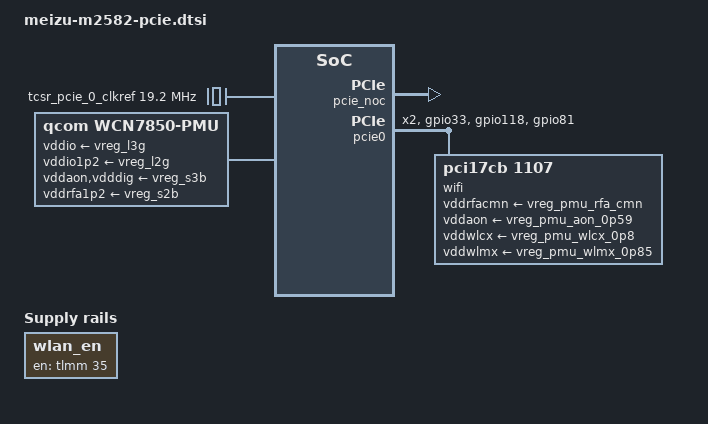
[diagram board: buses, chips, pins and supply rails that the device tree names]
// SPDX-License-Identifier: BSD-3-Clause
/*
 * M2582: PCIe0, its QMP PHY, and the WCN7750 that mainline's ath12k binds.
 *
 * The WiFi core on this phone is a PCIe endpoint, not the SNOC/icnss2 WPSS:
 * the vendor's platform node is qcom,cnss-kiwi (cnss2 = MHI over PCIe), its
 * wpss_pas sibling is status = "disabled", and the running Android enumerated
 * the chip as 0000:01:00.0 behind 1c00000.pcie.  ath12k matches PCI ID
 * 0x17cb:0x1107 directly, so no cnss2 port is needed -- only this host.
 *
 * Provenance of every number below is one of
 *
 *   live:N    artifacts/meizu22/android-live-ON/live-fdt.dts, the phone's own
 *             runtime device tree (layer 2, the strongest source here)
 *   <file>:N  an in-tree mainline driver, binding or sibling SoC description
 *   tuna:N    vendor-ref/oneplus-dt/.../tuna-pcie.dtsi -- another vendor's
 *             device tree for the *same* SoC, used only to cross-check a
 *             property's spelling, never for a value (AGENTS.md 6.1)
 *
 * Nothing is taken from vendor-ref/factory/dtb_main.dts: that DTB is for the
 * "Kera" board and has no node for this one.
 *
 * Known gaps, all of them reported rather than papered over:
 *   - the nine vdd*-supply rails qcom,ath12k.yaml wants are not declared
 *     anywhere in this tree, so wifi@0 carries none of them (see below).
 *   - the PCIe PHY's own vdda-phy/vdda-pll are in the same position: the
 *     vendor powers the PHY from its GDSC (tuna-pcie.dtsi:54) and names no
 *     rail, and phy-qcom-qmp-pcie.c takes both with a non-optional bulk get
 *     (:5101-5115, called at :5492), so they resolve to dummy regulators
 *     (regulator/core.c:130-133, 2448-2458) and Linux never enables them.
 *   - WLAN_EN is driven by the fixed regulator at the end of this file; it is
 *     the only rail this board can raise without knowing the vendor's seven.
 */

#include <dt-bindings/clock/qcom,gcc-tuna.h>
#include <dt-bindings/gpio/gpio.h>
#include <dt-bindings/interconnect/qcom,tuna.h>
#include <dt-bindings/interconnect/qcom,icc.h>
#include <dt-bindings/interrupt-controller/arm-gic.h>

/*
 * The PCIe PHY's reference.
 *
 * The real gate is TCSR_PCIE_0_CLKREF_EN in the TCSR block, which the
 * non-secure kernel must not touch -- probing that clock controller stalls the
 * AXI bus (see the tcsrcc node in tuna.dtsi) -- so it is modelled as a fixed
 * clock exactly like tcsr_usb3_clkref, and the bootloader has already opened
 * the gate.  19.2 MHz is RPMH_CXO_CLK: sm8750.dtsi gives its tcsrcc node
 * clocks = <&rpmhcc RPMH_CXO_CLK>, and RPMH_CXO_CLK is bi_tcxo here.  This sits
 * at the root, not under /soc: a reg-less child of the soc@0 simple-bus is
 * exactly the node shape that already produces the tree's nine simple_bus_reg
 * warnings, and this must not add a tenth.
 */
/ {
	tcsr_pcie_0_clkref: tcsr-pcie-0-clkref {
		compatible = "fixed-clock";
		#clock-cells = <0>;
		clock-frequency = <19200000>;
	};

	/*
	 * WLAN_EN.  The vendor names this pin twice and both times it is TLMM 35
	 * with flag 0, i.e. GPIO_ACTIVE_HIGH: wlan-en-gpio on the WiFi node
	 * (live:34711) and qcom,wl-reset-gpio on the BT node of the same chip
	 * (live:34480); its own pinctrl drives the pad output-high to enable and
	 * biases it up (live:7557-7568).  Nothing in this tree raises it -- ath12k
	 * has no gpio consumer -- so it is modelled the way mainline models such
	 * enable lines (e.g. qcs615-ride.dts:68, sm6350-sony-xperia-lena-pdx213.dts:47):
	 * a fixed regulator with no voltage of its own.  regulator-boot-on is what
	 * makes fixed.c request the GPIO already high (the initial level comes
	 * from that property alone: fixed.c:191-192, 295-296), and
	 * regulator-always-on keeps the regulator core from releasing it in late
	 * cleanup (core.c:6811).  It is
	 * deliberately not referenced by wifi@0: it is not one of the nine ath12k
	 * supplies and the driver has no consumer for it.
	 */
	wlan_en: regulator-wlan-en {
		compatible = "regulator-fixed";
		regulator-name = "wlan_en";
		gpio = <&tlmm 35 GPIO_ACTIVE_HIGH>;
		enable-active-high;
		regulator-boot-on;
		regulator-always-on;

		/* Same subsystem switch as the rest of this file. */
		m2582,feature = "wifi";
	};

	/*
	 * The WCN7750's power management unit, modelled the way every other
	 * mainline board with this part does it (sm8650-qrd.dts:1015-1065 and
	 * its siblings).  Two things hang off it:
	 *
	 *  - the seven board rails that feed the module, which is the whole
	 *    reason the pwrseq framework exists: pwrseq-qcom-wcn.c:480-486
	 *    bulk-gets all seven by name (vdd, vddio, vddio1p2, vddaon,
	 *    vdddig, vddrfa1p2, vddrfa1p8 -- note that vddio1p2 is not in the
	 *    binding's required list but the driver still asks for it, so it
	 *    has to be here or probe fails with "Failed to get all
	 *    regulators"), then enables them, asserts the BT enable line and
	 *    waits before releasing it.
	 *
	 *  - the nine "ldo" nodes below, which are the module's *internal*
	 *    PMU outputs.  They carry no compatible, so nothing binds to them
	 *    and no regulator device is ever registered: their only job is to
	 *    give wifi@0 something to point its nine mandatory vdd*-supply
	 *    properties at.
	 *
	 * The input mapping is the phone's own, from qcom,pmu_vreg_map in the
	 * vendor's WLAN node (live-fdt.dts:34675-34678), which names the
	 * internal PMU rail each board rail feeds -- VDD095_PMU <- s1g,
	 * VDD_PMU_AON_I and VDD095_MX_PMU <- s3b, VDD13_PMU_RFA_I <-> VDD13_PMU_PCIE_I
	 * <- s2b, VDD19_PMU_RFA_I <-> VDD19_PMU_PCIE_I <- s1b -- plus the two
	 * always-on IO rails on the VS instance.
	 *
	 * Deliberately no wlan-enable-gpios or bt-enable-gpios here, although
	 * the binding allows both and the driver takes them optional: TLMM 35
	 * is already owned by the wlan_en fixed regulator above (and the pwrseq
	 * driver would not drive it anyway -- it takes it GPIOD_ASIS so as not
	 * to toggle WLAN and drop the PCIe link, pwrseq-qcom-wcn.c:499-523),
	 * and PM8550VS-G gpio 4 is owned by the bluetooth node's enable-gpios.
	 * A second gpiod_get() on a claimed line returns -EBUSY
	 * (gpiolib.c:2598), which would fail this node's probe and take its
	 * sub-regulators with it.
	 *
	 * One consequence worth stating plainly, because it decides the design:
	 * on this board *nothing consumes this pwrseq*.  ath12k has no
	 * regulator or pwrseq consumer at all, and the only driver that would
	 * ask for it is hci_qca, which takes the pwrseq path only when the
	 * bluetooth node has no enable-gpios (hci_qca.c:2472-2530) -- and ours
	 * has one.  So this node does not sequence anything at runtime; it is
	 * the vendor's rail split written down, and the rails that actually
	 * power the part are always-on in meizu-m2582-regulators.dtsi.
	 */
	wcn7850-pmu {
		compatible = "qcom,wcn7850-pmu";

		vddio-supply = <&vreg_l3g>;
		vddio1p2-supply = <&vreg_l2g>;
		vddaon-supply = <&vreg_s3b>;
		vdddig-supply = <&vreg_s3b>;
		vddrfa1p2-supply = <&vreg_s2b>;
		vddrfa1p8-supply = <&vreg_s1b>;

		/* Same subsystem switch as the rest of this file.  Properties
		 * must precede subnodes, hence its place above regulators.
		 */
		m2582,feature = "wifi";

		regulators {
			vreg_pmu_rfa_cmn: ldo0 {
				regulator-name = "vreg_pmu_rfa_cmn";
			};

			vreg_pmu_aon_0p59: ldo1 {
				regulator-name = "vreg_pmu_aon_0p59";
			};

			vreg_pmu_wlcx_0p8: ldo2 {
				regulator-name = "vreg_pmu_wlcx_0p8";
			};

			vreg_pmu_wlmx_0p85: ldo3 {
				regulator-name = "vreg_pmu_wlmx_0p85";
			};

			vreg_pmu_btcmx_0p85: ldo4 {
				regulator-name = "vreg_pmu_btcmx_0p85";
			};

			vreg_pmu_rfa_0p8: ldo5 {
				regulator-name = "vreg_pmu_rfa_0p8";
			};

			vreg_pmu_rfa_1p2: ldo6 {
				regulator-name = "vreg_pmu_rfa_1p2";
			};

			vreg_pmu_rfa_1p8: ldo7 {
				regulator-name = "vreg_pmu_rfa_1p8";
			};

			vreg_pmu_pcie_0p9: ldo8 {
				regulator-name = "vreg_pmu_pcie_0p9";
			};

			vreg_pmu_pcie_1p8: ldo9 {
				regulator-name = "vreg_pmu_pcie_1p8";
			};
		};
	};
};

/*
 * MSI controller for the endpoint.
 *
 * live:1670 puts a GIC ITS at 0x17140000 (size 0x20000) inside the GIC node,
 * and live:1110 maps the host's requester IDs onto it -- MSI is the only
 * interrupt path the WiFi core has (live has no interrupts on the cnss node).
 * tuna:41 writes the same msi-map.  Mainline needs the ITS as a node of its
 * own; sm8650.dtsi:7238 is that shape, and its address is the same 0x17140000.
 * #msi-cells = <1> is the vendor's own value (live:1674).
 */
&intc {
	gic_its: msi-controller@17140000 {
		compatible = "arm,gic-v3-its";
		reg = <0 0x17140000 0 0x20000>;
		msi-controller;
		#msi-cells = <1>;

		/* The subsystem switch; see arch/arm64/kernel/meizu-m2582-features.c. */
		m2582,feature = "wifi";
	};
};

&soc {
	/*
	 * The PCIe ANOC.  It is not in tuna.dtsi, but the vendor has it and the
	 * driver for it is in this tree: live:8527 declares interconnect@16c0000
	 * with reg <0x16c0000 0x11400> and compatible "qcom,tuna-pcie_anoc",
	 * which drivers/interconnect/qcom/tuna.c:1717 binds as
	 * qcom,tuna-pcie-anoc (tuna.c:1651 is the node table: MASTER_PCIE_0 ->
	 * SLAVE_ANOC_PCIE_GEM_NOC).
	 *
	 * The two interface clocks are the vendor's (live:8531: gcc indices 6
	 * and 15 = GCC_AGGRE_NOC_PCIE_AXI_CLK and GCC_CFG_NOC_PCIE_ANOC_AHB_CLK,
	 * both implemented in gcc-tuna.c), but they are never enabled.  This
	 * node's reg sits inside the GCC window (0x100000..0x2f4200,
	 * tuna.dtsi:142), so icc-rpmh.c:314 fails the ioremap with -EBUSY and
	 * jumps silently to skip_qos_config, skipping both the QoS programming
	 * and the clk_bulk_get_all()/clk_bulk_prepare_enable() pair that would
	 * turn the clocks on (:326, :210).  The provider still registers and
	 * votes, so the consumers resolve; only QoS and the clocks are left to
	 * the bootloader, as for every other tuna NoC inside that window.
	 */
	pcie_noc: interconnect@16c0000 {
		compatible = "qcom,tuna-pcie-anoc";
		reg = <0 0x016c0000 0 0x11400>;
		#interconnect-cells = <2>;
		qcom,bcm-voters = <&apps_bcm_voter>;
		clocks = <&gcc GCC_AGGRE_NOC_PCIE_AXI_CLK>,
			 <&gcc GCC_CFG_NOC_PCIE_ANOC_AHB_CLK>;
		clock-names = "aggre_noc_pcie_axi", "cfg_noc_pcie_anoc_ahb";

		m2582,feature = "wifi";
	};

	/*
	 * The PCIe0 PHY.
	 *
	 * The vendor describes the PHY as a register window *inside* the host
	 * node -- reg-names "parf","phy","dm_core",... with "phy" at
	 * <0x1c06000 0x2000> (live:1100-1101, tuna:14-22) -- and never as a node
	 * of its own.  It is nevertheless separate silicon at a separate
	 * address, and mainline's pcie-qcom takes it through phys/phy-names
	 * (pcie-qcom.c:1955, devm_phy_optional_get(dev, "pciephy")), so the node
	 * has to exist.  It is not the USB3/DP combo PHY: that one is at
	 * 0x88e8000 (tuna-usb.dtsi, usb_qmpphy) and has nothing to do with
	 * PCIe0.
	 *
	 * Compatible: mainline has no SM8735/tuna PCIe PHY.  The choice between
	 * the two gen3x2 siblings is settled by the vendor's own init table.  The
	 * 115 (offset,value) pairs of live:1130 were matched against both
	 * in-tree tables placed at their own offset maps:
	 *
	 *   sm8550_qmp_gen3x2_pciephy_cfg (qmp_pcie_offsets_v5, used by
	 *     "qcom,sm8650-qmp-gen3x2-pcie-phy"): 105/109 driver writes identical
	 *   sm8750_qmp_gen3x2_pciephy_cfg (qmp_pcie_offsets_v7): 38/123 identical
	 *
	 * so the PHY is the sm8550/sm8650 generation.  What settles the offset
	 * map rather than just the values: the vendor writes 0x2dc = 0x05,
	 * 0x388 = 0x77, 0x6a4 = 0x1e and 0x6f4 = 0x27, which are
	 * REFGEN_REQ_CONFIG1, RX_SIGDET_LVL, EQ_CONFIG1 and RXEQEVAL_TIME at v5's
	 * pcs base 0x200 and pcs_misc base 0x600, and at no other base.  The four
	 * writes that do differ are the same register pair in both lanes (v5
	 * offsets 0x180/0x194 and their +0x800 copies): the vendor programs 0x8f
	 * where the in-tree table has 0x89.
	 *
	 * Clocks are sm8750.dtsi:5351-5360's five names, all of them resolvable
	 * here: GCC_PCIE_0_AUX_CLK, GCC_PCIE_0_CFG_AHB_CLK,
	 * GCC_PCIE_0_PHY_RCHNG_CLK and GCC_PCIE_0_PIPE_CLK are implemented in
	 * gcc-tuna.c and enumerated in qcom,gcc-tuna.h, and "ref" is the TCSR
	 * stub above.  100 MHz for the rchng clock is the only rate its table
	 * offers (gcc-tuna.c:459-462) and matches the vendor's own Gen3 entry in
	 * qcom,bw-scale (live:1117, 0x5f5e100).
	 *
	 * Reset 7 is the vendor's: live:1120-1121 resets <&gcc 4>, <&gcc 7> with
	 * names "pcie_0_core_reset"/"pcie_0_phy_reset", and qcom,gcc-tuna.h:176-179
	 * makes index 7 GCC_PCIE_0_PHY_BCR (4 is GCC_PCIE_0_BCR, on the host
	 * below).  tuna:73-76 spells the same two out by name.
	 *
	 * Power: the PHY's switch is GCC's PHY GDSC, not a rail -- the vendor
	 * feeds its "gdsc-phy-vdd-supply" from exactly that domain
	 * (tuna-pcie.dtsi:54) and gives the domain the MX level as its parent
	 * (live:14707-14716).  gcc-tuna.c now implements GCC_PCIE_0_PHY_GDSC at
	 * 0x6c000, so attaching it here makes the kernel own the switch instead of
	 * inheriting whatever the bootloader left.  This window at 0x1c06000 is
	 * where the AXI-bus stalls came from, and an unpowered PHY domain is the
	 * state least likely to survive a register access.  Same shape as
	 * sm8750.dtsi:5368.
	 */
	pcie0_phy: phy@1c06000 {
		compatible = "qcom,sm8650-qmp-gen3x2-pcie-phy";
		reg = <0 0x01c06000 0 0x2000>;

		clocks = <&gcc GCC_PCIE_0_AUX_CLK>,
			 <&gcc GCC_PCIE_0_CFG_AHB_CLK>,
			 <&tcsr_pcie_0_clkref>,
			 <&gcc GCC_PCIE_0_PHY_RCHNG_CLK>,
			 <&gcc GCC_PCIE_0_PIPE_CLK>;
		clock-names = "aux",
			      "cfg_ahb",
			      "ref",
			      "rchng",
			      "pipe";

		assigned-clocks = <&gcc GCC_PCIE_0_PHY_RCHNG_CLK>;
		assigned-clock-rates = <100000000>;

		resets = <&gcc GCC_PCIE_0_PHY_BCR>;
		reset-names = "phy";

		power-domains = <&gcc GCC_PCIE_0_PHY_GDSC>;

		/*
		 * The PHY's PIPE output.  The name is not free: gcc-tuna.c:246
		 * looks its pipe mux parent up as fw_name "pcie_0_pipe_clk", and
		 * the &gcc override below is what pairs that name with this node.
		 * The PHY driver requires the property to exist at all
		 * (phy-qcom-qmp-pcie.c:5186-5191).
		 */
		#clock-cells = <0>;
		clock-output-names = "pcie_0_pipe_clk";
		#phy-cells = <0>;

		m2582,feature = "wifi";
	};

	/*
	 * PCIe0, root complex 0.
	 *
	 * Register windows, their names and their order are the vendor's, with
	 * the names mainline spells differently -- live:1100-1101's "dm_core" is
	 * the DWC "dbi" window, "iatu" is "atu" and "conf" is "config" -- which
	 * the identical sizes prove: the values below are <0x1c00000 0x3000>,
	 * <0x40000000 0xf1d>, <0x40000f20 0xa8>, <0x40001000 0x1000>,
	 * <0x40100000 0x100000>, <0x1c03000 0x1000>, and sm8750.dtsi:5202-5215
	 * carries exactly that set for the same controller generation.  The
	 * vendor's eighth window, "pcie_sm" at <0x1d07000 0x7000>, has no
	 * mainline consumer and is left out; so is the "phy" window, which is
	 * the PHY node above.
	 *
	 * Compatible: mainline has no SM8735 entry.  "qcom,pcie-sm8550" is the
	 * documented fallback and pcie-qcom.c:2310 matches it to cfg_1_9_0; the
	 * SoC-specific string in front of it is added to qcom,pcie-sm8550.yaml
	 * with this board.  The controller is the same IP as sm8750's, whose
	 * node (sm8750.dtsi:5200-5310) is the shape reference for everything
	 * below that the vendor does not name.
	 *
	 * Clocks: the vendor node has no clocks at all (live:1097-1146 has no
	 * clocks/clock-names, and neither does tuna:10-242 -- the vendor driver
	 * enables them from its own tables), which is why the earlier survey
	 * called this undetermined.  They are the eight gcc-tuna.c implements
	 * for PCIe0, under the names pcie-qcom and the binding use
	 * (sm8750.dtsi:5266-5288), and all eight exist in qcom,gcc-tuna.h.
	 */
	pcie0: pcie@1c00000 {
		compatible = "qcom,pcie-sm8735", "qcom,pcie-sm8550";
		device_type = "pci";

		reg = <0 0x01c00000 0 0x3000>,
		      <0 0x40000000 0 0xf1d>,
		      <0 0x40000f20 0 0xa8>,
		      <0 0x40001000 0 0x1000>,
		      <0 0x40100000 0 0x100000>,
		      <0 0x01c03000 0 0x1000>;
		reg-names = "parf", "dbi", "elbi", "atu", "config", "mhi";

		#address-cells = <3>;
		#size-cells = <2>;
		/*
		 * The vendor's two windows, identity-mapped: live:1105 gives
		 * PCI 0x40200000 -> CPU 0x40200000, size 0x100000, and PCI
		 * 0x40300000 -> CPU 0x40300000, size 0x3d00000.  Its own encoding
		 * is one cell short -- <flags, pci-mid, pci-low, cpu, ?, size> --
		 * because it omits the parent's second address cell; the form
		 * below is the same mapping written for this parent
		 * (soc@0 has #address-cells = <2>), which is also exactly how
		 * sm8650.dtsi:3650-3651 and sm8750.dtsi:5218-5220 write theirs.
		 */
		ranges = <0x01000000 0x00 0x40200000 0x00 0x40200000 0x00 0x100000>,
			 <0x02000000 0x00 0x40300000 0x00 0x40300000 0x00 0x3d00000>;
		bus-range = <0x00 0xff>;
		linux,pci-domain = <0>;

		/*
		 * Two lanes.  The vendor declares no num-lanes, but the PHY is a
		 * two-lane part and its own init table programs both lanes --
		 * live:1130 writes every tx/rx register twice, at 0x1000.. and at
		 * its +0x800 twin.  Without the property the DWC core calls
		 * dw_pcie_link_set_max_link_width() with 0 and logs "num-lanes 0:
		 * invalid value" instead of programming the width
		 * (pcie-designware.c:898-934, 1313).  sm8650.dtsi:3644 and
		 * sm8750.dtsi:5231 set 2 for the same controller.
		 *
		 * max-link-speed is deliberately absent, as it is in the vendor
		 * node and in sm8650/sm8750: the core then caches the hardware
		 * capability and caps nothing (pcie-designware.c:857-860), so the
		 * link trains as fast as the PHY and the endpoint agree on.
		 */
		num-lanes = <2>;

		clocks = <&gcc GCC_PCIE_0_AUX_CLK>,
			 <&gcc GCC_PCIE_0_CFG_AHB_CLK>,
			 <&gcc GCC_PCIE_0_MSTR_AXI_CLK>,
			 <&gcc GCC_PCIE_0_SLV_AXI_CLK>,
			 <&gcc GCC_PCIE_0_SLV_Q2A_AXI_CLK>,
			 <&gcc GCC_DDRSS_PCIE_SF_QTB_CLK>,
			 <&gcc GCC_AGGRE_NOC_PCIE_AXI_CLK>,
			 <&gcc GCC_CNOC_PCIE_SF_AXI_CLK>;
		clock-names = "aux",
			      "cfg",
			      "bus_master",
			      "bus_slave",
			      "slave_q2a",
			      "ddrss_sf_tbu",
			      "noc_aggr",
			      "cnoc_sf_axi";

		resets = <&gcc GCC_PCIE_0_BCR>;
		reset-names = "pci";

		/*
		 * The controller's own switch.  The vendor's node is
		 * gcc_pcie_0_gdsc at 0x16b004 with the CX level as its parent
		 * (live:14694-14703); gcc-tuna.c implements it at 0x6b004, and the
		 * parent rail is already voted through this clock controller's own
		 * power-domains (tuna.dtsi:149-150).  Without the domain the core
		 * and the PHY run on the bootloader's leftovers.  Same shape as
		 * sm8750.dtsi:5289.
		 */
		power-domains = <&gcc GCC_PCIE_0_GDSC>;

		/*
		 * The runtime DT's own path, by its own names -- live:1118-1119
		 * "icc_path" between pcie_noc master 0xfa3 and mc_virt slave
		 * 0x11a0, which qcom,tuna.h:161-162 identifies as
		 * MASTER_PCIE_0_PCIE_CRM_HW_0 / SLAVE_EBI1_PCIE_CRM_HW_0 and
		 * tuna:70-71 spells out.  Mainline's driver asks for two paths by
		 * name and fails the probe if a name it asks for is missing
		 * (of_icc_get() returns -ENODATA, pcie-qcom.c:1627-1633), so
		 * either both are declared or neither is; the second one is
		 * sm8750.dtsi:5290-5293's CPU path, whose endpoints
		 * MASTER_APPSS_PROC and SLAVE_PCIE_0 both resolve in this tree's
		 * tuna.c (1490, 1508).
		 */
		interconnects = <&pcie_noc MASTER_PCIE_0 QCOM_ICC_TAG_ALWAYS
				 &mc_virt SLAVE_EBI1 QCOM_ICC_TAG_ALWAYS>,
				<&gem_noc MASTER_APPSS_PROC QCOM_ICC_TAG_ALWAYS
				 &cnoc_main SLAVE_PCIE_0 QCOM_ICC_TAG_ALWAYS>;
		interconnect-names = "pcie-mem", "cpu-pcie";

		/*
		 * Stream IDs for the endpoint: the vendor's mapping verbatim
		 * (live:1122-1123, tuna:80-81), the same 0x1400/0x1401 pair every
		 * sm8550-generation board uses.  live's qcom,smmu-sid-base is a
		 * vendor-driver property with the same value and no mainline
		 * consumer.
		 */
		iommu-map = <0x0   &apps_smmu 0x1400 0x1>,
			    <0x100 &apps_smmu 0x1401 0x1>;

		/*
		 * MSI.  0x1400/0x1401 are the same stream IDs the vendor maps
		 * (live:1110) and 0x36 is its gic_its.  There is no msi-map-mask
		 * here because the vendor declares none: the RID must match
		 * exactly, which it does -- the endpoint is bus 1, device 0,
		 * function 0, so its requester ID is 0x100, the second entry.
		 */
		msi-map = <0x0   &gic_its 0x1400 0x1>,
			  <0x100 &gic_its 0x1401 0x1>;

		/*
		 * Interrupts.  The vendor has exactly five (live:1108-1109):
		 * SPI 140 named "int_global_int" and SPI 149..152 named
		 * "int_a".."int_d" -- the four legacy INTx lines.  Mainline's own
		 * pcie-qcom reads no interrupt at all in this tree; the INTx
		 * lines are translated through interrupt-map, and SPI 140 is the
		 * global one.  The msi0..msi7 interrupts sm8750.dtsi lists
		 * (SPI 141..148) are the controller's internal MSI block, which is
		 * bypassed when msi-map is present -- pcie-designware-host.c:596-599
		 * sets use_imsi_rx = false on exactly that property -- so they are
		 * not invented here, having no source in the runtime DT.
		 *
		 * Each interrupt-map entry carries the parent's #address-cells (2)
		 * as well as its #interrupt-cells (3) after the phandle; both the
		 * kernel (of_irq_parse_imap_parent(), drivers/of/irq.c:127-150) and
		 * dtc consume that many cells, and the GIC specifier is the last
		 * three.  The two zeros are that address, as in sm8750.dtsi:5247.
		 */
		interrupts = <GIC_SPI 140 IRQ_TYPE_LEVEL_HIGH>;
		interrupt-names = "global";
		#interrupt-cells = <1>;
		interrupt-map-mask = <0 0 0 0x7>;
		interrupt-map = <0 0 0 1 &intc 0 0 GIC_SPI 149 IRQ_TYPE_LEVEL_HIGH>,
				<0 0 0 2 &intc 0 0 GIC_SPI 150 IRQ_TYPE_LEVEL_HIGH>,
				<0 0 0 3 &intc 0 0 GIC_SPI 151 IRQ_TYPE_LEVEL_HIGH>,
				<0 0 0 4 &intc 0 0 GIC_SPI 152 IRQ_TYPE_LEVEL_HIGH>;

		dma-coherent;

		/*
		 * PERST# and WAKE# are on the host node in the vendor tree
		 * (live:1111-1112: TLMM 33 and 81, both flag 0), which mainline
		 * deprecates in favour of the root port's own properties
		 * (qcom,pcie-common.yaml:81-93).  They are therefore declared on
		 * the root port below, where the driver looks for them
		 * (pcie-qcom.c:1919, qcom_pcie_parse_perst()).
		 */
		pinctrl-names = "default", "sleep";
		pinctrl-0 = <&pcie0_perst_default>, <&pcie0_clkreq_default>,
			    <&pcie0_wake_default>;
		pinctrl-1 = <&pcie0_perst_default>, <&pcie0_clkreq_sleep>,
			    <&pcie0_wake_default>;

		/* The subsystem switch; see arch/arm64/kernel/meizu-m2582-features.c. */
		m2582,feature = "wifi";

		/*
		 * The root port.  device_type = "pci" is what makes the driver
		 * find it (pcie-qcom.c:1922), and its own properties are the
		 * modern home for the two GPIOs the vendor puts on the host.
		 *
		 * reset-gpios is GPIO 33, ACTIVE_LOW, although the vendor writes
		 * flag 0: PERST# is active low, the vendor's own pinctrl state
		 * holds the pad with bias-pull-down (live:6210) so the net idles
		 * asserted, and mainline asserts by writing logical 1
		 * (pcie-qcom.c:295).  sm8750-mtp.dts:1123 is the same translation
		 * for the same controller: the vendor's sun-pcie.dtsi:44 says
		 * perst-gpio = <&tlmm 102 GPIO_ACTIVE_HIGH> and upstream says
		 * reset-gpios = <&tlmm 102 GPIO_ACTIVE_LOW>.
		 *
		 * wake-gpios is GPIO 81 and stays ACTIVE_HIGH, matching both the
		 * vendor's flag and sm8750-mtp.dts:1122.
		 */
		pcieport0: pcie@0 {
			device_type = "pci";
			reg = <0x0 0x0 0x0 0x0 0x0>;
			bus-range = <0x01 0xff>;
			#address-cells = <3>;
			#size-cells = <2>;
			ranges;

			/*
			 * phys belongs here, not on the host: the driver looks it
			 * up on this node (pcie-qcom.c:1884) and only falls back
			 * to the host's "pciephy" binding when that fails, in
			 * which case reset-gpios below is never even read.  Same
			 * shape as sm8750.dtsi:5341 / sm8750-mtp.dts:1121-1123.
			 */
			phys = <&pcie0_phy>;

			wake-gpios = <&tlmm 81 GPIO_ACTIVE_HIGH>;
			reset-gpios = <&tlmm 33 GPIO_ACTIVE_LOW>;

			/*
			 * The WCN7750 itself.  reg is bus 1 / device 0 / function 0
			 * -- the address the running Android enumerated
			 * (".../1c00000.pcie/pci0000:00/0000:00:00.0/0000:01:00.0",
			 * dmesg-full-ON.txt:860) -- in the 5-cell PCI form the
			 * binding documents (qcom,ath12k.yaml:88).
			 *
			 * The nine vdd*-supply rails the binding requires are NOT
			 * here: none of the seven vendor rails this board uses
			 * (live:34681-34694: vdd-wlan -> S1G, -io -> L3G, -io12 ->
			 * L2G, -dig -> S3B, -rfa1 -> S1B, -rfa2 -> S2B, -ant-share
			 * -> L6K) is declared in meizu-m2582-regulators.dtsi, and
			 * the vendor's seven names are not mainline's nine (there
			 * is no vdddig upstream, and no vddpcie0p9/vddpcie1p8
			 * split), so no phandle can be given without inventing one.
			 * ath12k itself has no regulator consumer at all -- no
			 * devm_regulator* call exists in
			 * drivers/net/wireless/ath/ath12k/ -- so the supplies are
			 * schema annotation only and their absence cannot stop the
			 * probe.
			 *
			 * The vendor's GPIOs are recorded here because they have no
			 * mainline home and are the first thing anyone porting
			 * cnss2 or writing a pwrseq driver will need: WLAN enable is
			 * TLMM 35, the coex handshake is TLMM 80 (SW_CTRL) and TLMM
			 * 34 (WLAN_SW_CTRL), the BT enable is PM8550VS-G GPIO 4
			 * (live:34709-34713).  Nothing reads these properties
			 * today; they are not part of qcom,ath12k.yaml.  Consequence
			 * for bring-up: nothing in this tree ever raises WLAN_EN, so
			 * the endpoint only powers up if the bootloader left the
			 * line high.
			 */
			wifi@0 {
				compatible = "pci17cb,1107";
				reg = <0x10000 0x0 0x0 0x0 0x0>;

				/*
				 * The nine supplies qcom,ath12k.yaml makes
				 * mandatory.  They are the WCN7750's *internal*
				 * PMU outputs, so their handles can only come
				 * from the wcn7850-pmu node above, not from a
				 * board rail.
				 *
				 * ath12k never reads them -- no devm_regulator*
				 * call exists anywhere under
				 * drivers/net/wireless/ath/ath12k/ -- and the
				 * ldo nodes in that PMU node have no compatible
				 * for a provider to bind to either, so no
				 * regulator device is ever registered for them
				 * and even a hypothetical consumer would get
				 * -EPROBE_DEFER rather than a rail it could
				 * enable.  They are declared because the binding
				 * requires them and because they are the only
				 * place the vendor's own rail split is written
				 * down; they do not power anything.
				 *
				 * What powers the part is the three board rails
				 * (meizu-m2582-regulators.dtsi, always-on) plus
				 * the wlan_en regulator above.
				 */
				vddrfacmn-supply = <&vreg_pmu_rfa_cmn>;
				vddaon-supply = <&vreg_pmu_aon_0p59>;
				vddwlcx-supply = <&vreg_pmu_wlcx_0p8>;
				vddwlmx-supply = <&vreg_pmu_wlmx_0p85>;
				vddrfa0p8-supply = <&vreg_pmu_rfa_0p8>;
				vddrfa1p2-supply = <&vreg_pmu_rfa_1p2>;
				vddrfa1p8-supply = <&vreg_pmu_rfa_1p8>;
				vddpcie0p9-supply = <&vreg_pmu_pcie_0p9>;
				vddpcie1p8-supply = <&vreg_pmu_pcie_1p8>;

				/*
				 * The vendor's GPIOs have no mainline home and
				 * are NOT properties of this binding
				 * (qcom,ath12k.yaml ends with
				 * additionalProperties: false), so they are
				 * recorded here as a comment rather than as
				 * properties; anything that needs them later
				 * (a cnss2 port, a pwrseq consumer) has to add
				 * them to its own node.
				 *
				 *	WLAN enable	TLMM 35, active high
				 *	coex handshake	TLMM 80 (SW_CTRL)
				 *			TLMM 34 (WLAN_SW_CTRL)
				 *	BT enable	PM8550VS-G gpio 4
				 *
				 * They are deliberately not claimed by the
				 * wcn7850-pmu node either: the WLAN line is
				 * already owned by the wlan_en fixed regulator
				 * above (which is what actually raises it, and
				 * the pwrseq driver would leave it alone anyway
				 * -- it takes it GPIOD_ASIS on purpose,
				 * pwrseq-qcom-wcn.c:499-523), and the BT line is
				 * owned by the bluetooth node's enable-gpios.  A
				 * second gpiod_get() on either would fail with
				 * -EBUSY (gpiolib.c:2598) and take the PMU node's
				 * probe down with it.
				 */
			};
		};
	};
};

/*
 * The PHY's PIPE clock reaches the controller through GCC's
 * gcc_pcie_0_pipe_clk mux, and gcc-tuna.c:246 looks that mux's first parent up
 * by fw_name "pcie_0_pipe_clk" -- so the name has to appear in this node's
 * clock-names with the PHY as its provider, or the mux selects nothing and the
 * controller has no PIPE clock to train with.  That is the same shape the UFS
 * PHY already uses here (tuna.dtsi:143-144 lists <&ufsphy_mem 0..2>), and it is
 * safe with respect to probe order: CCF resolves a parent_data fw_name lazily
 * and orphans the clock rather than failing the provider
 * (drivers/clk/clk.c:509-533, clk_core_populate_parent_map()), so GCC still
 * probes before the PHY does.
 *
 * The six existing entries are repeated verbatim; a DT property cannot be
 * appended to.  Nothing else in the tree overrides this node.
 */
&gcc {
	clocks = <&bi_tcxo>, <&sleep_clk>,
		 <&ufsphy_mem 0>, <&ufsphy_mem 1>, <&ufsphy_mem 2>,
		 <&usb3_phy_wrapper_clk>,
		 <&pcie0_phy>;
	clock-names = "bi_tcxo", "sleep_clk", "ufs_phy_rx_symbol_0_clk",
		      "ufs_phy_rx_symbol_1_clk", "ufs_phy_tx_symbol_0_clk",
		      "usb3_phy_wrapper_gcc_usb30_pipe_clk",
		      "pcie_0_pipe_clk";
};

/*
 * The four pad states the vendor gives the controller (live:6204-6264), with
 * the same pins, functions, drive strengths and biases.  gpio33 is PERST#,
 * gpio81 is WAKE#, and gpio118 is CLKREQ# -- the vendor names the function
 * pcie0_clk_req_n, which pinctrl-tuna.c:2117 defines for that pin; the sleep
 * state hands it back to plain gpio with the pad pulled up and readable,
 * exactly as the vendor does.  bias-pull-down on PERST# is what holds the
 * endpoint in reset while the host is not driving the line.
 */
&tlmm {
	pcie0_perst_default: pcie0-perst-default-state {
		pins = "gpio33";
		function = "gpio";
		drive-strength = <2>;
		bias-pull-down;
	};

	pcie0_clkreq_default: pcie0-clkreq-default-state {
		pins = "gpio118";
		function = "pcie0_clk_req_n";
		drive-strength = <2>;
		bias-pull-up;
	};

	pcie0_clkreq_sleep: pcie0-clkreq-sleep-state {
		pins = "gpio118";
		function = "gpio";
		drive-strength = <2>;
		bias-pull-up;
		input-enable;
	};

	pcie0_wake_default: pcie0-wake-default-state {
		pins = "gpio81";
		function = "gpio";
		drive-strength = <2>;
		bias-pull-up;
	};
};
